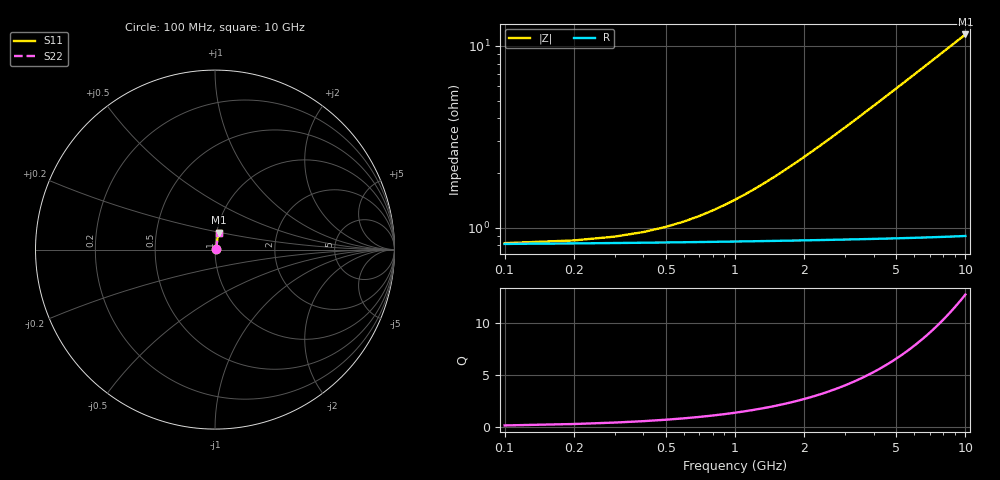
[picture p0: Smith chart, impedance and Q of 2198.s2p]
# Hz S RI R 50.00
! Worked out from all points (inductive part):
!   100 points, 100 MHz to 10 GHz, reference 50 ohm
!   read as one part in series: L = 183 pH near 2.3 GHz
!   highest Q = 12.8 at 10 GHz (marker M1), where L = 183 pH
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1e8  0.00808 0.000966  0.9919 -0.0013  0.9919 -0.0013  0.00808 0.000966
2e8  0.00814 0.00193  0.9919 -0.0026  0.9919 -0.0026  0.00814 0.00193
3e8  0.00818 0.0029  0.9918 -0.0039  0.9918 -0.0039  0.00818 0.0029
4e8  0.00822 0.00386  0.9918 -0.0052  0.9918 -0.0052  0.00822 0.00386
6e8  0.0083 0.0058  0.9917 -0.0078  0.9917 -0.0078  0.0083 0.0058
1e9  0.00845 0.00966  0.9915 -0.013  0.9915 -0.013  0.00845 0.00966
1.3e9  0.00858 0.0126  0.9914 -0.0169  0.9914 -0.0169  0.00858 0.0126
1.5e9  0.00868 0.0145  0.9913 -0.0195  0.9913 -0.0195  0.00868 0.0145
1.8e9  0.00884 0.0174  0.9911 -0.0234  0.9911 -0.0234  0.00884 0.0174
2.1e9  0.00902 0.0203  0.991 -0.0273  0.991 -0.0273  0.00902 0.0203
2.5e9  0.00929 0.0241  0.9907 -0.0325  0.9907 -0.0325  0.00929 0.0241
2.9e9  0.00959 0.028  0.9904 -0.0377  0.9904 -0.0377  0.00959 0.028
3.4e9  0.01 0.0328  0.9899 -0.0441  0.9899 -0.0441  0.01 0.0328
3.8e9  0.0104 0.0366  0.9895 -0.0493  0.9895 -0.0493  0.0104 0.0366
4.2e9  0.0108 0.0404  0.989 -0.0545  0.989 -0.0545  0.0108 0.0404
4.6e9  0.0113 0.0443  0.9885 -0.0597  0.9885 -0.0597  0.0113 0.0443
5.1e9  0.012 0.0491  0.9879 -0.0661  0.9879 -0.0661  0.012 0.0491
5.9e9  0.0131 0.0567  0.9867 -0.0764  0.9867 -0.0764  0.0131 0.0567
6.7e9  0.0144 0.0643  0.9853 -0.0867  0.9853 -0.0867  0.0144 0.0643
7.5e9  0.0159 0.0718  0.9838 -0.0969  0.9838 -0.0969  0.0159 0.0718
8.4e9  0.0177 0.0803  0.9818 -0.1084  0.9818 -0.1084  0.0177 0.0803
1e10  0.0215 0.0952  0.9779 -0.1287  0.9779 -0.1287  0.0215 0.0952
